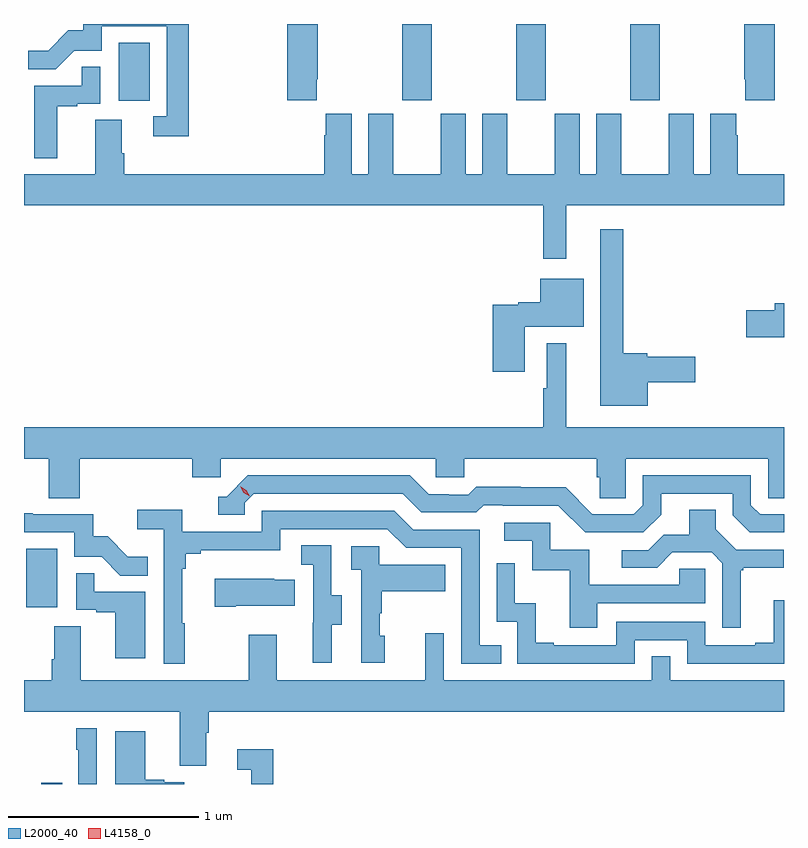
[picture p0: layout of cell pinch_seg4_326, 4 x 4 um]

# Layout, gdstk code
import gdstk
lib = gdstk.Library(unit=1e-6, precision=1e-09)
def R(c, l, rs):  # rectangles x0, y0, x1, y1
    for r in rs: c.add(gdstk.rectangle(r[:2], r[2:], *l))
def A(c, l, x, y, w, h, nx, ny, dx, dy):  # array of equal rectangles
    R(c, l, [(x+i*dx, y+j*dy, x+i*dx+w, y+j*dy+h) for i in range(nx) for j in range(ny)])
def P(c, l, *ps):  # polygons
    for p in ps: c.add(gdstk.Polygon(p, *l))
L2000_40 = (2000, 40)
L4158_0 = (4158, 0)

pinch_seg4_326 = lib.new_cell('pinch_seg4_326')
A(pinch_seg4_326, L2000_40, 988.255, 809.361, 0.155, 0.402, 3, 1, 0.6, 0)
R(pinch_seg4_326, L2000_40, [(986.354,805.763,986.465,805.77), (986.276,806.694,986.44,807.001), (986.762,809.358,986.926,809.665)])
P(pinch_seg4_326, L2000_40, [(990.215,809.763),(990.055,809.763),(990.055,809.473),(990.059,809.473),(990.059,809.361),(990.215,809.361)],
  [(987.805,809.473),(987.81,809.473),(987.81,809.763),(987.65,809.763),(987.65,809.361),(987.805,809.361)],
  [(987.131,809.763),(986.575,809.763),(986.575,809.73),(986.498,809.73),(986.391,809.623),(986.287,809.623),(986.287,809.524),(986.43,809.524),(986.528,809.622),(986.673,809.622),(986.673,809.751),(987.015,809.751),(987.015,809.277),(986.943,809.277),(986.943,809.172),(987.131,809.172)],
  [(986.44,809.331),(986.543,809.331),(986.543,809.343),(986.664,809.343),(986.664,809.537),(986.569,809.537),(986.569,809.439),(986.318,809.439),(986.318,809.057),(986.44,809.057)],
  [(989.119,808.808),(990.264,808.808),(990.264,808.972),(990.02,808.972),(990.02,809.177),(990.013,809.177),(990.013,809.29),(989.876,809.29),(989.876,808.972),(989.788,808.972),(989.788,809.29),(989.657,809.29),(989.657,808.972),(989.407,808.972),(989.407,809.29),(989.276,809.29),(989.276,808.972),(989.188,808.972),(989.188,809.29),(989.057,809.29),(989.057,808.972),(988.807,808.972),(988.807,809.29),(988.676,809.29),(988.676,808.972),(988.588,808.972),(988.588,809.29),(988.457,809.29),(988.457,808.972),(988.207,808.972),(988.207,809.29),(988.076,809.29),(988.076,808.972),(987.988,808.972),(987.988,809.29),(987.851,809.29),(987.851,809.177),(987.845,809.177),(987.845,808.972),(986.792,808.972),(986.792,809.084),(986.779,809.084),(986.779,809.258),(986.639,809.258),(986.639,808.972),(986.264,808.972),(986.264,808.808),(988.998,808.808),(988.998,808.527),(989.119,808.527)],
  [(989.548,807.878),(989.797,807.878),(989.797,808.013),(989.544,808.013),(989.544,808.031),(989.419,808.031),(989.419,808.684),(989.297,808.684),(989.297,807.755),(989.548,807.755)],
  [(988.9,808.169),(989.209,808.169),(989.209,808.423),(988.982,808.423),(988.982,808.298),(988.866,808.298),(988.866,808.285),(988.73,808.285),(988.73,807.933),(988.9,807.933)],
  [(990.264,808.292),(990.215,808.292),(990.215,808.256),(990.066,808.256),(990.066,808.114),(990.264,808.114)],
  [(986.558,807.476),(987.149,807.476),(987.149,807.378),(987.3,807.378),(987.3,807.476),(988.431,807.476),(988.431,807.378),(988.581,807.378),(988.581,807.476),(989.279,807.476),(989.279,807.378),(989.293,807.378),(989.293,807.268),(989.43,807.268),(989.43,807.476),(990.18,807.476),(990.18,807.268),(990.264,807.268),(990.264,807.64),(989.119,807.64),(989.119,808.084),(989.015,808.084),(989.015,807.845),(988.998,807.845),(988.998,807.64),(986.264,807.64),(986.264,807.476),(986.393,807.476),(986.393,807.268),(986.558,807.268)],
  [(989.617,807.181),(989.617,807.291),(989.994,807.291),(989.994,807.177),(990.084,807.087),(990.264,807.087),(990.264,807.183),(990.138,807.183),(990.09,807.231),(990.09,807.387),(989.52,807.387),(989.52,807.231),(989.472,807.183),(989.256,807.183),(989.114,807.325),(988.878,807.325),(988.878,807.328),(988.645,807.328),(988.603,807.285),(988.5,807.285),(988.5,807.288),(988.393,807.288),(988.294,807.387),(987.441,807.387),(987.33,807.276),(987.287,807.276),(987.287,807.18),(987.426,807.18),(987.426,807.243),(987.474,807.291),(988.257,807.291),(988.356,807.192),(988.645,807.192),(988.684,807.231),(988.783,807.231),(988.783,807.228),(989.076,807.228),(989.217,807.087),(989.523,807.087)],
  [(987.109,806.609),(987.097,806.609),(987.097,806.897),(987.116,806.897),(987.116,806.974),(987.193,806.974),(987.193,806.993),(987.612,806.993),(987.612,807.105),(988.176,807.105),(988.275,807.006),(988.566,807.006),(988.566,806.397),(988.775,806.397),(988.775,806.493),(988.662,806.493),(988.662,807.102),(988.312,807.102),(988.213,807.201),(987.516,807.201),(987.516,807.09),(987.098,807.09),(987.098,807.206),(986.859,807.206),(986.859,807.104),(987,807.104),(987,806.397),(987.109,806.397)],
  [(990.037,806.889),(990.049,806.889),(990.049,806.9),(990.262,806.9),(990.262,806.997),(990.012,806.997),(989.905,807.104),(989.905,807.206),(989.765,807.206),(989.765,807.074),(989.63,807.074),(989.55,806.994),(989.409,806.994),(989.409,806.901),(989.596,806.901),(989.677,806.982),(989.883,806.982),(989.94,806.925),(989.94,806.586),(990.037,806.586)],
  [(986.915,806.959),(986.811,806.959),(986.704,807.066),(986.628,807.066),(986.628,807.183),(986.309,807.183),(986.309,807.188),(986.264,807.188),(986.264,807.087),(986.529,807.087),(986.529,806.958),(986.673,806.958),(986.771,806.86),(986.915,806.86)],
  [(989.281,806.715),(989.85,806.715),(989.85,806.895),(989.713,806.895),(989.713,806.811),(989.239,806.811),(989.239,806.997),(989.034,806.997),(989.034,807.138),(988.791,807.138),(988.791,807.042),(988.938,807.042),(988.938,806.889),(989.137,806.889),(989.137,806.586),(989.281,806.586)],
  [(987.883,806.602),(987.937,806.602),(987.937,806.757),(987.882,806.757),(987.882,807.02),(987.723,807.02),(987.723,806.917),(987.786,806.917),(987.786,806.613),(987.785,806.613),(987.785,806.4),(987.883,806.4)],
  [(988.162,806.544),(988.137,806.544),(988.137,806.663),(988.147,806.663),(988.147,806.777),(988.481,806.777),(988.481,806.917),(988.134,806.917),(988.134,807.015),(987.987,807.015),(987.987,806.891),(988.038,806.891),(988.038,806.4),(988.162,806.4)],
  [(989.478,806.52),(989.754,806.52),(989.754,806.397),(990.264,806.397),(990.264,806.731),(990.209,806.731),(990.209,806.506),(990.113,806.506),(990.113,806.493),(989.85,806.493),(989.85,806.616),(989.382,806.616),(989.382,806.493),(989.053,806.493),(989.053,806.506),(988.958,806.506),(988.958,806.714),(988.848,806.714),(988.848,806.926),(988.752,806.926),(988.752,806.616),(988.86,806.616),(988.86,806.397),(989.478,806.397)],
  [(986.902,806.775),(986.633,806.775),(986.633,806.873),(986.538,806.873),(986.538,806.679),(986.645,806.679),(986.645,806.667),(986.744,806.667),(986.744,806.424),(986.902,806.424)],
  [(987.379,806.702),(987.689,806.702),(987.689,806.839),(987.581,806.839),(987.581,806.842),(987.267,806.842),(987.267,806.695),(987.379,806.695)],
  [(987.223,806.032),(987.236,806.032),(987.236,806.144),(990.264,806.144),(990.264,806.308),(989.664,806.308),(989.664,806.435),(989.568,806.435),(989.568,806.308),(988.473,806.308),(988.473,806.557),(988.376,806.557),(988.376,806.308),(987.595,806.308),(987.595,806.548),(987.448,806.548),(987.448,806.308),(986.563,806.308),(986.563,806.594),(986.423,806.594),(986.423,806.42),(986.411,806.42),(986.411,806.308),(986.264,806.308),(986.264,806.144),(987.083,806.144),(987.083,805.858),(987.223,805.858)],
  [(986.646,806.056),(986.538,806.056),(986.538,805.943),(986.55,805.943),(986.55,805.763),(986.646,805.763)],
  [(987.108,805.773),(987.002,805.773),(987.002,805.786),(986.902,805.786),(986.902,806.041),(986.744,806.041),(986.744,805.763),(987.108,805.763)],
  [(987.575,805.945),(987.387,805.945),(987.387,805.839),(987.459,805.839),(987.459,805.763),(987.575,805.763)])
P(pinch_seg4_326, L4158_0, [(987.451,807.278),(987.42,807.297),(987.403,807.329),(987.403,807.329),(987.403,807.329),(987.434,807.31),(987.451,807.278),(987.451,807.278)])

lib.write_gds('pinch_seg4_326.gds')
